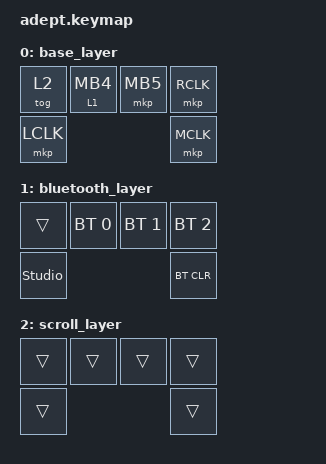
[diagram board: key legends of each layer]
#include <input/processors.dtsi>
#include <behaviors.dtsi>
#include <dt-bindings/zmk/bt.h>
#include <dt-bindings/zmk/pointing.h>
#include <dt-bindings/zmk/input_transform.h>

#define DEFAULT 0
#define BLUE 1
#define SCRL 2

&trackball_listener {

    scroller {
        layers = <SCRL>; 
        input-processors = <&xy_scaler 1 25>, <&x_scaler 0 1>, <&to_wheel>;
    };
};

/ { 
    xy_scaler: xy_scaler {
        compatible = "zmk,input-processor-scaler";
        #input-processor-cells = <2>;
        type = <INPUT_EV_REL>;
        codes = <INPUT_REL_X>, <INPUT_REL_Y>;
        track-remainders;
    };

    to_wheel: to_wheel {
        compatible = "zmk,input-processor-code-mapper";
        #input-processor-cells = <0>;
        type = <INPUT_EV_REL>;
        map = <INPUT_REL_X INPUT_REL_HWHEEL>
            , <INPUT_REL_Y INPUT_REL_WHEEL>;
    };

    x_scaler: x_scaler {
        compatible = "zmk,input-processor-scaler";
        #input-processor-cells = <2>;
        type = <INPUT_EV_REL>;
        codes = <INPUT_REL_X>;
    };

    combos {
        compatible = "zmk,combos";

        bootloader {
            timeout-ms = <50>;
            key-positions = <3 0>;
            bindings = <&bootloader>;
        };
    };

    behaviors {
        mlt: mlt {
            compatible = "zmk,behavior-hold-tap";
            label = "MLT";
            bindings = <&mo>, <&mkp>;

            #binding-cells = <2>;
            tapping-term-ms = <200>;
            flavor = "tap-preferred";
        };
    };

    keymap {
        compatible = "zmk,keymap";

        base_layer {
            bindings = <
                &tog    2 &mlt 1 MB4 &mkp MB5 &mkp RCLK
                &mkp LCLK                     &mkp MCLK
            >;
        };

        bluetooth_layer {
            bindings = <
                &trans         &bt BT_SEL 0  &bt BT_SEL 1  &bt BT_SEL 2
                &studio_unlock                             &bt BT_CLR
            >;
        };

        scroll_layer {
            bindings = <
                &trans  &trans  &trans  &trans
                &trans                  &trans
            >;
        };
    };
};
